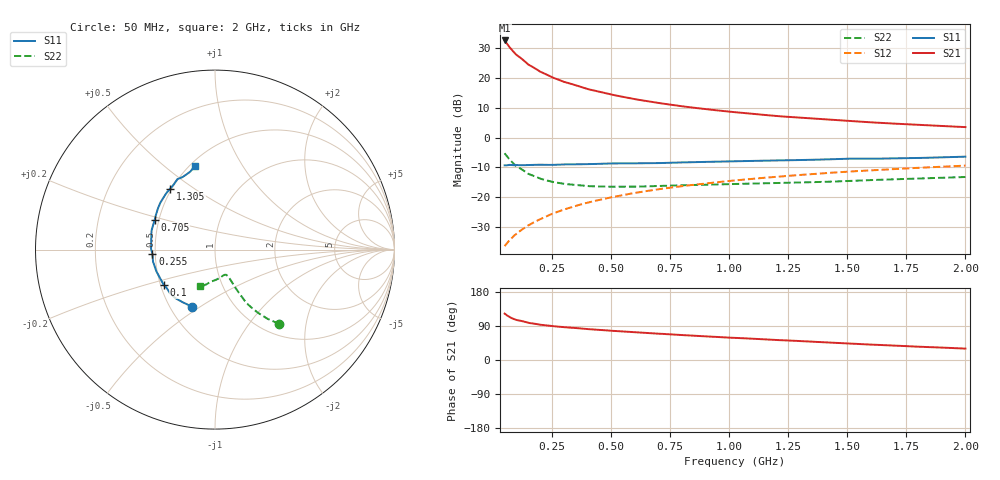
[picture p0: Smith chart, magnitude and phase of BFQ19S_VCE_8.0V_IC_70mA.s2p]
! Infineon Technologies  Discrete & RF Semiconductors
! BFQ19S
! VCE =  8.0 V,  IC =  70 mA
! Common Emitter S-Parameters:  Jan 2016
# GHz  S  MA  R  50
!  f  S11  S21  S12  S22
! GHz  MAG  ANG  MAG  ANG  MAG  ANG  MAG  ANG
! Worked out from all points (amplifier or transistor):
!   391 points, 50 MHz to 2 GHz, reference 50 ohm
!   highest |S21| = 32.5 dB at 50 MHz (marker M1)
!   |S21| within 3 dB of that: start of sweep to 78.78 MHz
!   unconditionally stable (mu >= 1): 238.5 MHz to 1.492 GHz; 1.532 GHz to 1.665 GHz
!   at 375 MHz: K = 1.02, MAG = 18.7 dB, |S12| = -22.3 dB
!   at 1.025 GHz: K = 1.03, MAG = 10.3 dB, |S12| = -14.3 dB
!   at 2 GHz: K = 0.97, MSG = 6.5 dB, |S12| = -9.4 dB
!   S11 on the Smith chart (normalised r, x): 50 MHz: 0.64, -0.46; 100 MHz: 0.52, -0.23; 255 MHz: 0.48, -0.03; 705 MHz: 0.47, +0.18; 1.305 GHz: 0.49, +0.40; 2 GHz: 0.53, +0.64
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0.05  0.3426 -112.1  42.34 122.4  0.0152 66.1  0.5464 -49.2
0.06  0.3441 -121.4  37.22 117.6  0.017 66.5  0.4842 -52.8
0.07  0.3497 -129.7  32.99 113.7  0.019 67.4  0.4344 -55.3
0.08  0.3491 -136.1  29.57 110.4  0.0207 67.9  0.3938 -57.3
0.09  0.344 -141.1  26.72 107.8  0.0228 68.2  0.3599 -58.8
0.1  0.3469 -145.6  24.3 105.6  0.0244 69.4  0.3318 -59.8
0.15  0.3484 -159.9  16.74 98.0  0.0338 72.0  0.2477 -61.8
0.2  0.3518 -169.1  12.75 93.1  0.0429 73.5  0.2054 -62.4
0.255  0.3495 -176.1  10.09 89.3  0.0536 74.1  0.1805 -63.2
0.3  0.3562 179.9  8.609 86.6  0.0621 74.1  0.168 -63.7
0.375  0.3578 173.4  7.028 83.1  0.0764 73.7  0.1574 -65.3
0.4  0.3594 171.3  6.509 81.6  0.0812 73.6  0.1539 -65.9
0.5  0.3689 163.7  5.256 77.2  0.0996 72.6  0.1505 -68.6
0.6  0.3708 158.7  4.403 73.2  0.1182 71.1  0.1507 -72.1
0.7  0.374 153.9  3.804 69.5  0.1362 69.7  0.1545 -75.7
0.705  0.3744 153.6  3.781 69.3  0.1371 69.6  0.1547 -75.9
0.88  0.3901 145.1  3.066 63.1  0.1674 66.8  0.1618 -82.5
1.03  0.4028 138.1  2.651 58.2  0.1927 64.2  0.1677 -87.4
1.305  0.4214 126.5  2.148 49.8  0.2376 59.6  0.1773 -95.5
1.35  0.4249 124.5  2.087 48.4  0.2448 58.9  0.1791 -96.7
1.675  0.4467 111.6  1.736 38.7  0.2939 53.3  0.1991 -103.9
2  0.4794 103.4  1.499 30.1  0.3392 48.1  0.2189 -112.2
